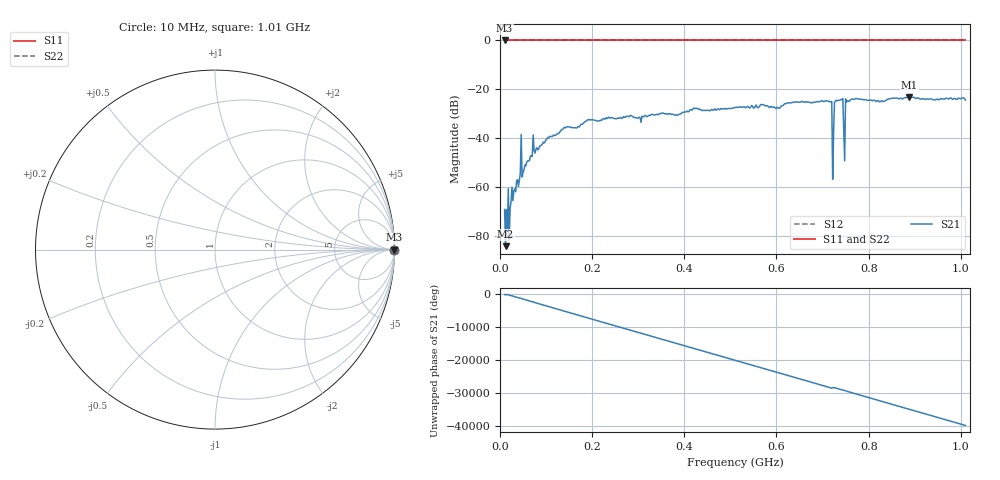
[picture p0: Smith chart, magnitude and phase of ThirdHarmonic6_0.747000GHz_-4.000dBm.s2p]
! 8/16/2025 12:58:55 AM
! C:\ANRITSUVNA\TEMP\TEMP.S2P
! CHANNEL.1
! TR.MEASUREMENT
! RAW.DATA
! RF.CORRECTION.OFF
! AVERAGING.OFF
! IF.BANDWIDTH: 5KHZ
! SWEEPTYPE:  FREQ.SWEEP(Linear)
! Reference Plane Port Info
! PORT:  PORT1  PORT2
! DISTANCE:  0  m  0  m
! TIME:  0  s  0  s
! PHASE.OFFSET:  0  deg.  0  deg.
! LOSS:  0  dB  0  dB
! REF.LOSS:  0  dB  0  dB
! REF.FREQ:  0  Hz  0  Hz
! Power Info
! POWER:  -20  dBm  -20  dBm
! EFF.POWER:  -20  dBm  -20  dBm
! SOURCE.ATTEN:  0  dB  0  dB
! TEST.ATTEN:  0  dB  0  dB
# GHZ S RI R 50.0
! FREQ.GHZ  S11RE  S11IM  S21RE  S21IM  S12RE  S12IM  S22RE  S22IM
!; PortSelection: Port_12
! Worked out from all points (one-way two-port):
!   501 points, 10 MHz to 1.01 GHz, reference 50 ohm
!   highest |S21| = -23.21 dB at 888 MHz (marker M1); lowest = -84.2 dB at 12 MHz (marker M2)
!   lowest |S11| = 0.0 dB at 10 MHz (marker M3)
!   |S11| at or under -10 dB: nowhere
!   |S22| runs from 0.0 to 0.0 dB; largest |S21 - S12| = 1.1
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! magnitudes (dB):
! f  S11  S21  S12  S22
! 10 MHz  0.0  -69.2  0.0  0.0
! 12 MHz  0.0  -84.2  0.0  0.0
! 16 MHz  0.0  -77.3  0.0  0.0
! 42 MHz  0.0  -57.3  0.0  0.0
! 52 MHz  0.0  -53.1  0.0  0.0
! 76 MHz  0.0  -46.1  0.0  0.0
! 178 MHz  0.0  -34.4  0.0  0.0
! 344 MHz  0.0  -30.4  0.0  0.0
! 510 MHz  0.0  -27.4  0.0  0.0
! 678 MHz  0.0  -25.5  0.0  0.0
! 716 MHz  0.0  -25.2  0.0  0.0
! 718 MHz  0.0  -25.0  0.0  0.0
! 722 MHz  0.0  -56.9  0.0  0.0
! 726 MHz  0.0  -25.2  0.0  0.0
! 730 MHz  0.0  -24.5  0.0  0.0
! 740 MHz  0.0  -24.2  0.0  0.0
! 744 MHz  0.0  -23.8  0.0  0.0
! 750 MHz  0.0  -23.9  0.0  0.0
! 754 MHz  0.0  -24.7  0.0  0.0
! 844 MHz  0.0  -24.0  0.0  0.0
! 888 MHz  0.0  -23.2  0.0  0.0
! 1.01 GHz  0.0  -24.4  0.0  0.0
